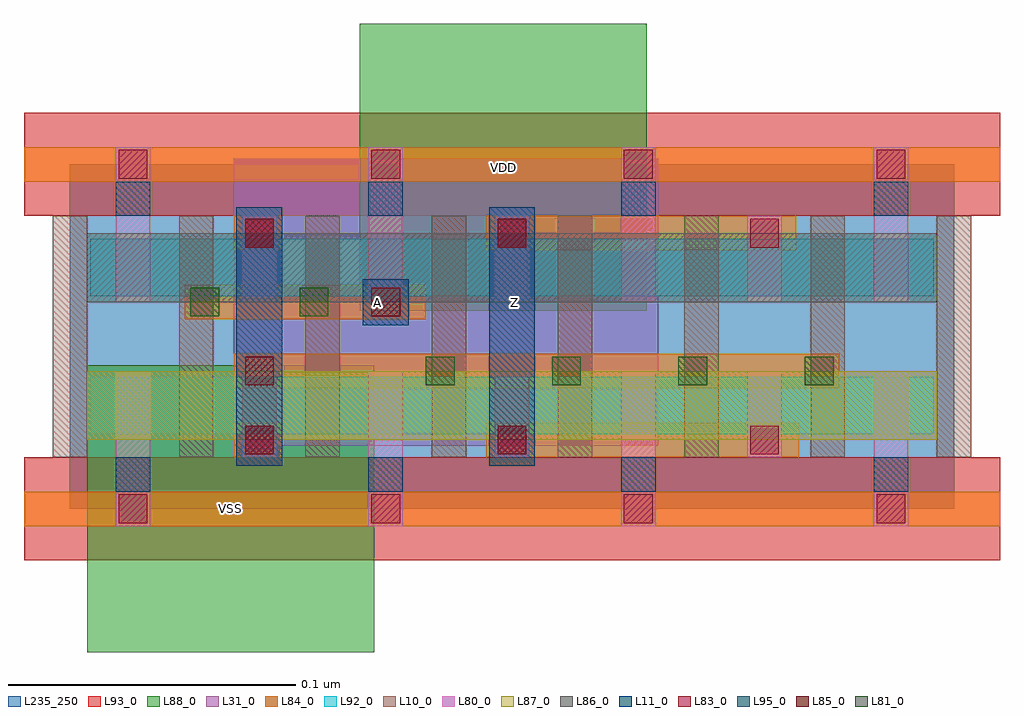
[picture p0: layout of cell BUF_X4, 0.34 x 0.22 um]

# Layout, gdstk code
import gdstk
lib = gdstk.Library(unit=1e-6, precision=1e-09)
def R(c, l, rs):  # rectangles x0, y0, x1, y1
    for r in rs: c.add(gdstk.rectangle(r[:2], r[2:], *l))
def A(c, l, x, y, w, h, nx, ny, dx, dy):  # array of equal rectangles
    R(c, l, [(x+i*dx, y+j*dy, x+i*dx+w, y+j*dy+h) for i in range(nx) for j in range(ny)])
L10_0 = (10, 0)
L11_0 = (11, 0)
L31_0 = (31, 0)
L80_0 = (80, 0)
L81_0 = (81, 0)
L83_0 = (83, 0)
L84_0 = (84, 0)
L85_0 = (85, 0)
L86_0 = (86, 0)
L87_0 = (87, 0)
L88_0 = (88, 0)
L92_0 = (92, 0)
L93_0 = (93, 0)
L95_0 = (95, 0)
L235_250 = (235, 250)

buf_x4 = lib.new_cell('BUF_X4')
A(buf_x4, L10_0, -0.006, 0.018, 0.012, 0.084, 8, 1, 0.044, 0)
R(buf_x4, L11_0, [(0.058,0.015,0.074,0.105), (0.146,0.015,0.162,0.105), (0.102,0.064,0.118,0.08)])
R(buf_x4, L31_0, [(0.057,0.022,0.157,0.122), (0.105,0.022,0.205,0.122)])
A(buf_x4, L80_0, 0.016, -0.006, 0.012, 0.054, 4, 2, 0.088, 0.078)
A(buf_x4, L80_0, 0.06, 0.018, 0.012, 0.03, 3, 2, 0.088, 0.054)
A(buf_x4, L81_0, 0.124, 0.043, 0.01, 0.01, 4, 1, 0.044, 0)
R(buf_x4, L81_0, [(0.042,0.067,0.052,0.077), (0.08,0.067,0.09,0.077)])
A(buf_x4, L83_0, 0.017, -0.005, 0.01, 0.01, 4, 2, 0.088, 0.12)
A(buf_x4, L83_0, 0.061, 0.019, 0.01, 0.01, 3, 2, 0.088, 0.072)
R(buf_x4, L84_0, [(-0.016,-0.006,0.324,0.006), (0.057,0.018,0.074,0.03), (0.145,0.018,0.254,0.03), (0.057,0.042,0.268,0.054), (0.04,0.066,0.124,0.078), (0.057,0.09,0.074,0.102), (0.145,0.09,0.253,0.102), (-0.016,0.114,0.324,0.126)])
R(buf_x4, L85_0, [(0.061,0.019,0.071,0.029), (0.149,0.019,0.159,0.029), (0.061,0.043,0.071,0.053), (0.105,0.067,0.115,0.077), (0.061,0.091,0.071,0.101), (0.149,0.091,0.159,0.101)])
R(buf_x4, L86_0, [(0.006,0.072,0.302,0.096)])
R(buf_x4, L87_0, [(0.006,0.024,0.302,0.048)])
R(buf_x4, L88_0, [(0.006,-0.05,0.106,0.05), (0.101,0.069,0.201,0.169)])
R(buf_x4, L92_0, [(0.007,0.026,0.301,0.046), (0.007,0.074,0.301,0.094)])
R(buf_x4, L93_0, [(-0.016,-0.018,0.324,0.018), (-0.016,0.102,0.324,0.138)])
A(buf_x4, L95_0, 0.016, 0.006, 0.012, 0.012, 4, 2, 0.088, 0.096)
R(buf_x4, L235_250, [(0,0,0.308,0.12)])
buf_x4.add(gdstk.Label('VSS', (0.056,0), layer=88, texttype=0))
buf_x4.add(gdstk.Label('VDD', (0.151,0.119), layer=88, texttype=0))
buf_x4.add(gdstk.Label('A', (0.107,0.072), layer=31, texttype=0))
buf_x4.add(gdstk.Label('Z', (0.155,0.072), layer=31, texttype=0))

lib.write_gds('BUF_X4.gds')
